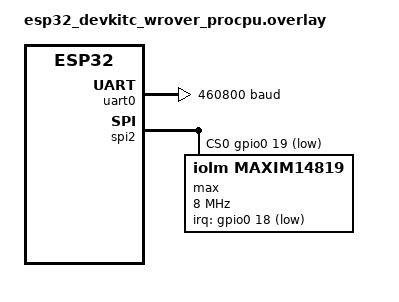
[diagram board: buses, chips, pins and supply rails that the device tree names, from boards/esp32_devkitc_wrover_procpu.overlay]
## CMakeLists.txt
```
# Copyright (c) 2024 Victor Chavez
# SPDX-License-Identifier: GPL-3.0-or-later

cmake_minimum_required(VERSION 3.20.0)
set(IOLINK_MODULE ${CMAKE_CURRENT_SOURCE_DIR}/../..)
set(ZEPHYR_EXTRA_MODULES ${IOLINK_MODULE})
find_package(Zephyr REQUIRED HINTS $ENV{ZEPHYR_BASE})
project(iolm_demo)

target_sources(app PRIVATE src/iolink_smi.c
                            src/iolink_handler.c
                            src/demo.c
)
```

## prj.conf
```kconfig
# Copyright (c) 2024 Victor Chavez
# SPDX-License-Identifier: GPL-3.0-or-later

CONFIG_THREAD_NAME=y
CONFIG_LOG=y
CONFIG_IOLINK_LOG_LEVEL_DBG=y
CONFIG_ASSERT=y
CONFIG_MINIMAL_LIBC=y
#CONFIG_LOG_BUFFER_SIZE=16384
CONFIG_IOLINK=y
CONFIG_IOLINK_MAIN_STACK_SIZE=1024
CONFIG_IOLINK_DL_STACK_SIZE=1024
CONFIG_IOLINK_NUM_PORTS=2
```

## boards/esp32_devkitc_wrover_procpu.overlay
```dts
&uart0 {
	current-speed = <460800>;
};

&spi2 {
	status = "okay";
	cs-gpios = <&gpio0 19 GPIO_ACTIVE_LOW>;
    max:maxim14819@0 {
		spi-max-frequency = <8000000>;
		status = "okay";
		irq-gpios = <&gpio0 18 GPIO_ACTIVE_LOW>;
        compatible = "iolm,maxim14819";
        reg = <0x00>;
		chip-address = <0x00>;
    };
};
```

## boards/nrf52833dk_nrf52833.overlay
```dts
&uart0 {
	current-speed = <460800>;
};

&pinctrl {

	spi1_default: spi1_default {
		group1 {
			psels = <NRF_PSEL(SPIM_SCK, 0, 31)>,
				<NRF_PSEL(SPIM_MOSI, 0, 30)>,
				<NRF_PSEL(SPIM_MISO, 0,29)>;
		};
	};

	spi1_sleep: spi1_sleep {
		group1 {
			psels = <NRF_PSEL(SPIM_SCK, 0, 31)>,
				<NRF_PSEL(SPIM_MOSI, 0, 30)>,
				<NRF_PSEL(SPIM_MISO, 0, 29)>;
			low-power-enable;
		};
	};
};

//#include <iolm/maxim14819.h>

&spi1 {
	status = "okay";
	pinctrl-names = "default", "sleep";
	cs-gpios = <&gpio1 9 GPIO_ACTIVE_LOW>;
    max:maxim14819@0 {
		spi-max-frequency = <10000000>;
		status = "okay";
		irq-gpios = <&gpio0 28 GPIO_ACTIVE_LOW>;
        compatible = "iolm,maxim14819";
        reg = <0x00>;
		chip-address = <0x00>;
    };
};
```

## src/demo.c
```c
/* Copyright (c) 2024 Victor Chavez
   SPDX-License-Identifier: GPL-3.0-or-later
*/
#include <stdio.h>
#include "osal.h"
#include "osal_irq.h"
#include "osal_log.h"
#include "iolink.h"
#include "iolink_max14819.h"
#include "iolink_handler.h"
#include <iolm/transciever.h>

#define IOLINK_HANDLER_THREAD_STACK_SIZE (1024)
#define IOLINK_HANDLER_THREAD_PRIO       CONFIG_IOLINK_MASTER_PRIO+1
static K_THREAD_STACK_DEFINE(iolm_handler_stack, IOLINK_HANDLER_THREAD_STACK_SIZE); 

void main_handler_thread (void * ctx)
{
   const iolink_m_cfg_t * cfg = (const iolink_m_cfg_t *)ctx;
   iolink_handler (*cfg);
}

static iolink_m_cfg_t iolink_cfg = {
   .cb_arg                   = NULL,
   .cb_smi                   = NULL,
   .cb_pd                    = NULL,
};

os_thread_t * iolink_handler_thread;


iolink_port_cfg_t port_cfgs[CONFIG_IOLINK_NUM_PORTS];
static iolink_pl_mode_t init_mode[] =
{
   iolink_mode_SDCI,
   iolink_mode_INACTIVE,
};


int main(void)
{
   LOG_INF("IOLM Demo");
   uint8_t transciever_cnt = 0;
   for (int i = 0; i < CONFIG_IOLINK_NUM_PORTS; i++) {
      iolink_hw_drv_t * drv =  get_drv(i);
      if (drv == NULL) {
         LOG_ERR("No driver found for port %d", i);
         return -ENODEV;
      }
      port_cfgs[i].drv = drv;
      port_cfgs[i].name = "dummy"; // not used in stack at all
      port_cfgs[i].mode = &init_mode[0];
      const uint8_t ch_no = i%TRANSCIEVER_MAX_PORTS;
      port_cfgs[i].arg = (void*)(ch_no);
   }

   iolink_cfg.port_cnt  = CONFIG_IOLINK_NUM_PORTS;
   iolink_cfg.port_cfgs = port_cfgs;
   LOG_INF("Total port cfg %d", iolink_cfg.port_cnt);

   iolink_handler_thread = os_thread_create (
      "iolink_handler_thread",
      IOLINK_HANDLER_THREAD_PRIO,
      iolm_handler_stack,
      K_THREAD_STACK_SIZEOF(iolm_handler_stack),
      main_handler_thread,
      (void*)&iolink_cfg);
   CC_ASSERT (iolink_handler_thread != NULL);
   return 0;
}
```

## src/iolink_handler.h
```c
/*********************************************************************
 *        _       _         _
 *  _ __ | |_  _ | |  __ _ | |__   ___
 * | '__|| __|(_)| | / _` || '_ \ / __|
 * | |   | |_  _ | || (_| || |_) |\__ \
 * |_|    \__|(_)|_| \__,_||_.__/ |___/
 *
 * www.rt-labs.com
 * Copyright 2021 rt-labs AB, Sweden.
 *
 * This software is dual-licensed under GPLv3 and a commercial
 * license. See the file LICENSE.md distributed with this software for
 * full license information.
 ********************************************************************/
/* Copyright (c) 2024 Victor Chavez
   SPDX-License-Identifier: GPL-3.0-or-later
*/
#ifndef IOLINK_HANDLER_H
#define IOLINK_HANDLER_H

#include "sys/osal_sys.h"
#include "iolink.h"

#define MASTER_VENDOR_ID 1171
#define MASTER_ID        123

typedef enum
{
   NONE,
   IFM_LAMP,
   IFM_RFID,
   IFM_SENS,
   IFM_HMI,
   GOLDEN,
   UNKNOWN,
} iolink_device_type_t;

/* Port events for app_port.event */
typedef enum
{
   SMI_READ_CNF          = 0x01,
   SMI_WRITE_CNF         = 0x02,
   SMI_PORTCFG_CNF       = 0x04,
   SMI_PORTSTATUS_CNF    = 0x08,
   SMI_MASTERIDENT_CNF   = 0x10,
   SMI_PARSERV_TO_DS_CNF = 0x20,
   SMI_PDIN_CNF = 0x40
} iolink_app_port_event_t;

typedef enum
{
   IOL_STATE_INACTIVE = 0,
   IOL_STATE_STARTING,
   IOL_STATE_STOPPING,
   IOL_STATE_RUNNING,
   IOL_STATE_WU_RETRY_WAIT_TSD,
} iolink_app_port_state_t;

typedef struct iolink_app_portstatus
{
   iolink_port_status_info_t port_status_info;
   iolink_port_quality_info_t port_quality_info;
   uint8_t revision_id;
   iolink_transmission_rate_t transmission_rate;
   uint8_t master_cycle_time;
   uint16_t vendorid;
   uint32_t deviceid;
} iolink_app_port_status_t;

#define PORT_EVENT_COUNT 10

typedef struct iolink_app_master_ctx iolink_app_master_ctx_t;
typedef struct iolink_app_port_ctx iolink_app_port_ctx_t;

typedef struct iolink_app_port_ctx
{
   iolink_app_master_ctx_t * app_master;
   uint8_t portnumber;
   iolink_device_type_t type;
   os_event_t * event;
   uint8_t allocated;
   iolink_app_port_state_t app_port_state;
   iolink_app_port_status_t status;
   os_mutex_t * status_mtx;
   iolink_smi_errortypes_t errortype;
   uint32_t last_pdin_print;

   struct
   {
      uint8_t count;
      diag_entry_t diag_entry[PORT_EVENT_COUNT];
      iolink_eventcode_t eventcode[PORT_EVENT_COUNT];
   } events;
   os_mutex_t * event_mtx;
   struct
   {
      iolink_port_qualifier_info_t pqi;
      uint8_t data[IOLINK_PD_MAX_SIZE];
      uint8_t data_len;
   } pdin;
   struct
   {
      uint16_t data_len;
   } param_read;
   os_mutex_t * pdout_mtx;
   void (*run_function) (iolink_app_port_ctx_t * app_port);
#ifdef __rtk__
   bool alarm_active;
#endif
} iolink_app_port_ctx_t;

typedef struct iolink_app_master_ctx
{
   iolink_m_t * master;
   iolink_app_port_ctx_t app_port[IOLINK_NUM_PORTS];
   os_event_t * app_event;
   uint16_t vendorid;
   uint32_t masterid;
} iolink_app_master_ctx_t;

extern iolink_app_master_ctx_t iolink_app_master;

void iolink_handler (iolink_m_cfg_t m_cfg);

iolink_smi_errortypes_t wait_for_cnf (
   iolink_app_port_ctx_t * app_port,
   uint32_t mask,
   uint32_t ms);

uint8_t get_port_status (iolink_app_port_ctx_t * app_port);

#endif // IOLINK_HANDLER_H
```

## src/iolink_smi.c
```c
/*********************************************************************
 *        _       _         _
 *  _ __ | |_  _ | |  __ _ | |__   ___
 * | '__|| __|(_)| | / _` || '_ \ / __|
 * | |   | |_  _ | || (_| || |_) |\__ \
 * |_|    \__|(_)|_| \__,_||_.__/ |___/
 *
 * www.rt-labs.com
 * Copyright 2021 rt-labs AB, Sweden.
 *
 * This software is dual-licensed under GPLv3 and a commercial
 * license. See the file LICENSE.md distributed with this software for
 * full license information.
 ********************************************************************/
/* Copyright (c) 2024 Victor Chavez
   SPDX-License-Identifier: GPL-3.0-or-later
*/
#include <string.h>
#include "osal.h"
#include "osal_log.h"
#include "iolink.h"
#include "iolink_main.h"
#include "iolink_dl.h"
#include "iolink_handler.h"

iolink_smi_errortypes_t do_smi_device_write (
   iolink_app_port_ctx_t * app_port,
   uint16_t index,
   uint8_t subindex,
   uint8_t len,
   const uint8_t * data)
{
   uint8_t arg_block_len = sizeof (arg_block_od_t) + len;
   uint8_t buffer[arg_block_len];
   arg_block_od_t * arg_block_od = (arg_block_od_t *)buffer;

   memset (buffer, 0, arg_block_len);
   arg_block_od->arg_block.id = IOLINK_ARG_BLOCK_ID_OD_WR;
   arg_block_od->index        = index;
   arg_block_od->subindex     = subindex;

   memcpy (arg_block_od->data, data, len);

   iolink_error_t err = SMI_DeviceWrite_req (
      app_port->portnumber,
      IOLINK_ARG_BLOCK_ID_VOID_BLOCK,
      arg_block_len,
      (arg_block_t *)arg_block_od);
   if (err != IOLINK_ERROR_NONE)
   {
      LOG_WARNING (
         LOG_STATE_ON,
         "%s failed (SMI_DeviceWrite_req returned %d) for port %u\n",
         __func__,
         err,
         app_port->portnumber);

      return (err == IOLINK_ERROR_ODLENGTH)
                ? IOLINK_SMI_ERRORTYPE_VAL_LENOVRRUN
                : IOLINK_SMI_ERRORTYPE_APP_DEV; // TODO
   }

   return wait_for_cnf (app_port, SMI_WRITE_CNF, 10000);
}

iolink_smi_errortypes_t do_smi_device_read (
   iolink_app_port_ctx_t * app_port,
   uint16_t index,
   uint8_t subindex,
   uint8_t len,
   uint8_t * data,
   uint8_t * actual_len)
{
   if (len == 0)
   {
      LOG_WARNING (
         LOG_STATE_ON,
         "%s: len == 0 for port %u\n",
         __func__,
         app_port->portnumber);

      return IOLINK_SMI_ERRORTYPE_ARGBLOCK_INCONSISTENT; // TODO what to return?
   }

   uint16_t arg_block_len = sizeof (arg_block_od_t) + len;
   uint8_t buffer[arg_block_len];
   arg_block_od_t * arg_block_od = (arg_block_od_t *)buffer;

   memset (buffer, 0, arg_block_len);
   arg_block_od->arg_block.id = IOLINK_ARG_BLOCK_ID_OD_RD;
   arg_block_od->index        = index;
   arg_block_od->subindex     = subindex;

   iolink_smi_errortypes_t errortype = IOLINK_SMI_ERRORTYPE_NONE;
   iolink_error_t err                = SMI_DeviceRead_req (
      app_port->portnumber,
      IOLINK_ARG_BLOCK_ID_OD_RD,
      arg_block_len,
      (arg_block_t *)arg_block_od);
   if (err != IOLINK_ERROR_NONE)
   {
      LOG_WARNING (
         LOG_STATE_ON,
         "%s failed (SMI_DeviceRead_req returned %d) for port %u\n",
         __func__,
         err,
         app_port->portnumber);

      errortype = IOLINK_SMI_ERRORTYPE_APP_DEV; // TODO
   }
   else
   {
      uint32_t event_value;

      /* Wait for SMI_DeviceRead_cnf() */
      if (os_event_wait (app_port->event, SMI_READ_CNF, &event_value, 10000))
      {
         errortype = app_port->errortype;

         LOG_WARNING (
            LOG_STATE_ON,
            "%s: timeout for port %u\n",
            __func__,
            app_port->portnumber);

         if (errortype != IOLINK_SMI_ERRORTYPE_NONE)
         {
            app_port->errortype = IOLINK_SMI_ERRORTYPE_NONE;
         }
         else
         {
            errortype = IOLINK_SMI_ERRORTYPE_APP_DEV; // TODO
         }
      }
      else
      {
         os_event_clr (app_port->event, event_value);

         if (data != NULL)
         {
            if (app_port->param_read.data_len > 0)
            {
               memcpy (data, arg_block_od->data, len);

               if (actual_len != NULL)
               {
                  *actual_len = app_port->param_read.data_len;
               }
            }

            app_port->param_read.data_len = 0;
         }
      }
   }

   return errortype;
}

uint8_t do_smi_pdout (
   iolink_app_port_ctx_t * app_port,
   bool output_enable,
   uint8_t len,
   const uint8_t * data)
{
   os_mutex_lock (app_port->pdout_mtx);

   arg_block_pdout_t arg_block_pdout;

   arg_block_pdout.h.arg_block.id = IOLINK_ARG_BLOCK_ID_PD_OUT;
   memcpy (arg_block_pdout.data, data, len);
   arg_block_pdout.h.len = len;
   arg_block_pdout.h.oe  = (output_enable) ? 1 : 0;

   iolink_error_t err = SMI_PDOut_req (
      app_port->portnumber,
      IOLINK_ARG_BLOCK_ID_VOID_BLOCK,
      sizeof (arg_block_pdout_head_t) + len,
      (arg_block_t *)&arg_block_pdout);
   os_mutex_unlock (app_port->pdout_mtx);

   return (err == IOLINK_ERROR_NONE) ? 0 : 1;
}

int8_t do_smi_pdin (iolink_app_port_ctx_t * app_port, bool * valid)
{
   arg_block_void_t arg_block_void;
   int8_t len = 0;

   memset (&arg_block_void, 0, sizeof (arg_block_void_t));
   arg_block_void.arg_block.id = IOLINK_ARG_BLOCK_ID_VOID_BLOCK;

   return SMI_PDIn_req (
         app_port->portnumber,
         IOLINK_ARG_BLOCK_ID_PD_IN,
         sizeof (arg_block_void_t),
         (arg_block_t *)&arg_block_void) == IOLINK_ERROR_NONE? 0:-1;
}

uint8_t do_smi_pdinout (iolink_app_port_ctx_t * app_port)
{
   arg_block_void_t arg_block_void;

   memset (&arg_block_void, 0, sizeof (arg_block_void_t));
   arg_block_void.arg_block.id = IOLINK_ARG_BLOCK_ID_VOID_BLOCK;

   iolink_error_t err = SMI_PDInOut_req (
      app_port->portnumber,
      IOLINK_ARG_BLOCK_ID_PD_IN_OUT,
      sizeof (arg_block_void_t),
      (arg_block_t *)&arg_block_void);

   return (err == IOLINK_ERROR_NONE) ? 0 : 1;
}
```

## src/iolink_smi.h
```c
/*********************************************************************
 *        _       _         _
 *  _ __ | |_  _ | |  __ _ | |__   ___
 * | '__|| __|(_)| | / _` || '_ \ / __|
 * | |   | |_  _ | || (_| || |_) |\__ \
 * |_|    \__|(_)|_| \__,_||_.__/ |___/
 *
 * www.rt-labs.com
 * Copyright 2021 rt-labs AB, Sweden.
 *
 * This software is dual-licensed under GPLv3 and a commercial
 * license. See the file LICENSE.md distributed with this software for
 * full license information.
 ********************************************************************/
/* Copyright (c) 2024 Victor Chavez
   SPDX-License-Identifier: GPL-3.0-or-later
*/
#ifndef IOLINK_SMI_H
#define IOLINK_SMI_H

#include "iolink.h"
#include "iolink_handler.h"

iolink_smi_errortypes_t do_smi_device_write (
   iolink_app_port_ctx_t * app_port,
   uint16_t index,
   uint8_t subindex,
   uint8_t len,
   const uint8_t * data);

iolink_smi_errortypes_t do_smi_device_read (
   iolink_app_port_ctx_t * app_port,
   uint16_t index,
   uint8_t subindex,
   uint8_t len,
   uint8_t * data,
   uint8_t * actual_len);

uint8_t do_smi_pdout (
   iolink_app_port_ctx_t * app_port,
   bool output_enable,
   uint8_t len,
   const uint8_t * data);

int8_t do_smi_pdin (iolink_app_port_ctx_t * app_port, bool * valid);

uint8_t do_smi_pdinout (iolink_app_port_ctx_t * app_port);

#endif // IOLINK_SMI_H
```
